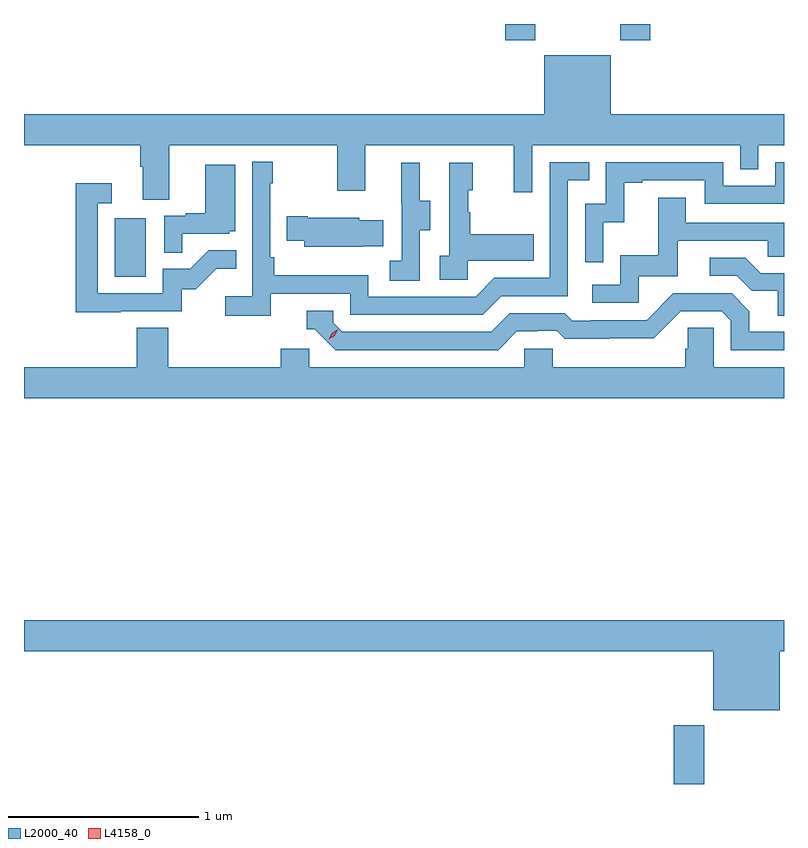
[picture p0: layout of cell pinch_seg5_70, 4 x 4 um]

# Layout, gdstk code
import gdstk
lib = gdstk.Library(unit=1e-6, precision=1e-09)
def R(c, l, rs):  # rectangles x0, y0, x1, y1
    for r in rs: c.add(gdstk.rectangle(r[:2], r[2:], *l))
def P(c, l, *ps):  # polygons
    for p in ps: c.add(gdstk.Polygon(p, *l))
L2000_40 = (2000, 40)
L4158_0 = (4158, 0)

pinch_seg5_70 = lib.new_cell('pinch_seg5_70')
R(pinch_seg5_70, L2000_40, [(1056.485,901.35,1056.645,901.66), (1053.542,904.02,1053.706,904.327), (1055.597,905.265,1055.757,905.35), (1056.202,905.265,1056.362,905.35)])
P(pinch_seg5_70, L2000_40, [(1053.829,904.712),(1054.714,904.712),(1054.714,904.473),(1054.861,904.473),(1054.861,904.712),(1055.642,904.712),(1055.642,904.464),(1055.739,904.464),(1055.739,904.712),(1056.834,904.712),(1056.834,904.585),(1056.93,904.585),(1056.93,904.712),(1057.065,904.712),(1057.065,904.876),(1056.154,904.876),(1056.154,905.185),(1055.804,905.185),(1055.804,904.876),(1053.065,904.876),(1053.065,904.712),(1053.677,904.712),(1053.677,904.6),(1053.689,904.6),(1053.689,904.426),(1053.829,904.426)],
  [(1054.364,903.93),(1054.782,903.93),(1054.782,903.819),(1055.479,903.819),(1055.578,903.918),(1055.928,903.918),(1055.928,904.527),(1056.041,904.527),(1056.041,904.623),(1055.832,904.623),(1055.832,904.014),(1055.541,904.014),(1055.442,903.915),(1054.878,903.915),(1054.878,904.027),(1054.382,904.027),(1054.382,904.123),(1054.362,904.123),(1054.362,904.511),(1054.375,904.511),(1054.375,904.624),(1054.266,904.624),(1054.266,903.916),(1054.125,903.916),(1054.125,903.814),(1054.364,903.814)],
  [(1056.114,904.307),(1056.224,904.307),(1056.224,904.515),(1056.319,904.515),(1056.319,904.527),(1056.648,904.527),(1056.648,904.404),(1057.065,904.404),(1057.065,904.623),(1057.02,904.623),(1057.02,904.5),(1056.744,904.5),(1056.744,904.623),(1056.126,904.623),(1056.126,904.404),(1056.018,904.404),(1056.018,904.095),(1056.114,904.095)],
  [(1055.148,904.264),(1055.203,904.264),(1055.203,904.419),(1055.149,904.419),(1055.149,904.621),(1055.051,904.621),(1055.051,904.407),(1055.052,904.407),(1055.052,904.103),(1054.989,904.103),(1054.989,904),(1055.148,904)],
  [(1055.4,904.103),(1055.747,904.103),(1055.747,904.243),(1055.413,904.243),(1055.413,904.358),(1055.403,904.358),(1055.403,904.476),(1055.428,904.476),(1055.428,904.621),(1055.304,904.621),(1055.304,904.13),(1055.253,904.13),(1055.253,904.005),(1055.4,904.005)],
  [(1053.899,904.245),(1054.146,904.245),(1054.146,904.26),(1054.177,904.26),(1054.177,904.609),(1054.019,904.609),(1054.019,904.354),(1053.915,904.354),(1053.915,904.341),(1053.804,904.341),(1053.804,904.147),(1053.899,904.147)],
  [(1053.575,903.837),(1053.894,903.837),(1053.894,903.954),(1053.97,903.954),(1054.077,904.061),(1054.181,904.061),(1054.181,904.16),(1054.037,904.16),(1053.939,904.062),(1053.795,904.062),(1053.795,903.933),(1053.453,903.933),(1053.453,904.407),(1053.526,904.407),(1053.526,904.513),(1053.337,904.513),(1053.337,903.832),(1053.575,903.832)],
  [(1056.3,904.023),(1056.505,904.023),(1056.505,904.209),(1056.979,904.209),(1056.979,904.125),(1057.065,904.125),(1057.065,904.305),(1056.547,904.305),(1056.547,904.435),(1056.403,904.435),(1056.403,904.132),(1056.204,904.132),(1056.204,903.978),(1056.057,903.978),(1056.057,903.882),(1056.3,903.882)],
  [(1054.847,904.181),(1054.955,904.181),(1054.955,904.318),(1054.83,904.318),(1054.83,904.33),(1054.558,904.33),(1054.558,904.338),(1054.447,904.338),(1054.447,904.208),(1054.541,904.208),(1054.541,904.178),(1054.847,904.178)],
  [(1057.065,904.038),(1056.943,904.038),(1056.862,904.119),(1056.675,904.119),(1056.675,904.026),(1056.816,904.026),(1056.896,903.946),(1057.031,903.946),(1057.031,903.814),(1057.065,903.814)],
  [(1055.659,903.732),(1055.766,903.732),(1055.766,903.735),(1055.869,903.735),(1055.911,903.693),(1056.144,903.693),(1056.144,903.695),(1056.38,903.695),(1056.522,903.837),(1056.738,903.837),(1056.786,903.789),(1056.786,903.633),(1057.065,903.633),(1057.065,903.729),(1056.883,903.729),(1056.883,903.839),(1056.789,903.933),(1056.483,903.933),(1056.342,903.792),(1056.049,903.792),(1056.049,903.789),(1055.95,903.789),(1055.911,903.828),(1055.622,903.828),(1055.523,903.729),(1054.74,903.729),(1054.692,903.777),(1054.692,903.84),(1054.553,903.84),(1054.553,903.744),(1054.596,903.744),(1054.707,903.633),(1055.56,903.633)],
  [(1057.065,903.544),(1056.696,903.544),(1056.696,903.752),(1056.559,903.752),(1056.559,903.642),(1056.545,903.642),(1056.545,903.544),(1055.847,903.544),(1055.847,903.642),(1055.697,903.642),(1055.697,903.544),(1054.566,903.544),(1054.566,903.642),(1054.415,903.642),(1054.415,903.544),(1053.824,903.544),(1053.824,903.752),(1053.659,903.752),(1053.659,903.544),(1053.065,903.544),(1053.065,903.38),(1057.065,903.38)],
  [(1057.042,902.048),(1057.065,902.048),(1057.065,902.212),(1053.065,902.212),(1053.065,902.048),(1056.692,902.048),(1056.692,901.739),(1057.042,901.739)])
P(pinch_seg5_70, L4158_0, [(1054.669,903.69),(1054.669,903.691),(1054.685,903.723),(1054.716,903.743),(1054.716,903.743),(1054.716,903.743),(1054.7,903.71),(1054.67,903.69)])

lib.write_gds('pinch_seg5_70.gds')
